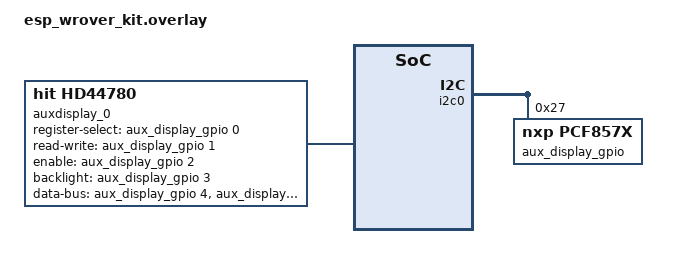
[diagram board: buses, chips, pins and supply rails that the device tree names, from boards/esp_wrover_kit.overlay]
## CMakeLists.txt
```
# SPDX-License-Identifier: Apache-2.0

cmake_minimum_required(VERSION 3.28.0)

find_package(Zephyr HINTS $ENV{ZEPHYR_BASE})
project(auxdisplay)

target_sources(app PRIVATE src/main.c)
```

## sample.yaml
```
sample:
  description: Demonstration of auxdisplay driver
  name: Auxiliary display sample
tests:
  sample.drivers.auxdisplay:
    tags: auxdisplay
    harness_config:
      fixture: fixture_auxdisplay
    platform_allow: nucleo_f746zg
    integration_platforms:
      - nucleo_f746zg
```

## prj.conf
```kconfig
CONFIG_AUXDISPLAY=y
CONFIG_LOG=y
```

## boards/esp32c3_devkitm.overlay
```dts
/*
 * Copyright (c) 2023 Chen Xingyu <hi@xingrz.me>
 * SPDX-License-Identifier: Apache-2.0
 */

#include <freq.h>

&spi2 {
	cs-gpios = <&gpio0 5 GPIO_ACTIVE_LOW>;

	auxdisplay_0: auxdisplay@0 {
		compatible = "ptc,pt6314";
		reg = <0>;
		spi-max-frequency = <DT_FREQ_M(1)>;
		columns = <20>;
		rows = <2>;
		status = "okay";
	};
};
```

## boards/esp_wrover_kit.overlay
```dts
/*
 * Character HD44780 module driven by the PCF8574 gpio.
 */

&i2c0 {
	aux_display_gpio: pcf8574@27 {
		compatible = "nxp,pcf857x";
		reg = <0x27>;
		gpio-controller;
		ngpios = <8>;
		#gpio-cells = <2>;
	};
};

/ {
	auxdisplay_0: hd44780 {
		compatible = "hit,hd44780";
		columns = <16>;
		rows = <2>;
		mode = <4>;
		boot-delay-ms = <100>;
		enable-line-rise-delay-us = <1000>;
		enable-line-fall-delay-us = <500>;
		register-select-gpios = <&aux_display_gpio 0 GPIO_ACTIVE_HIGH>;
		read-write-gpios = <&aux_display_gpio 1 GPIO_ACTIVE_HIGH>;
		enable-gpios = <&aux_display_gpio 2 GPIO_ACTIVE_HIGH>;
		backlight-gpios = <&aux_display_gpio 3 GPIO_ACTIVE_HIGH>;
		data-bus-gpios = <0>, <0>, <0>, <0>,
				 <&aux_display_gpio 4 GPIO_ACTIVE_HIGH>,
				 <&aux_display_gpio 5 GPIO_ACTIVE_HIGH>,
				 <&aux_display_gpio 6 GPIO_ACTIVE_HIGH>,
				 <&aux_display_gpio 7 GPIO_ACTIVE_HIGH>;
	};
};
```

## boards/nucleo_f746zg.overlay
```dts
/*
 * Copyright (c) 2022-2023 Jamie McCrae
 *
 * SPDX-License-Identifier: Apache-2.0
 */

/ {
	auxdisplay_0: auxdisplay {
		compatible = "hit,hd44780";
		columns = <20>;
		rows = <4>;
		mode = <4>;
		register-select-gpios = <&gpiob 8 GPIO_ACTIVE_HIGH>;
		enable-gpios = <&gpiob 9 GPIO_ACTIVE_HIGH>;
		data-bus-gpios = <0>, <0>, <0>, <0>,
				 <&gpioa 5 GPIO_ACTIVE_HIGH>,
				 <&gpioa 6 GPIO_ACTIVE_HIGH>,
				 <&gpioa 7 GPIO_ACTIVE_HIGH>,
				 <&gpiod 14 GPIO_ACTIVE_HIGH>;
		status = "okay";
	};
};

/delete-node/ &spi1;
```

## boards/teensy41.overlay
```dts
/*
 * Copyright (c) 2026 Hatus Vianna Wanderley
 *
 * SPDX-License-Identifier: Apache-2.0
 *
 * Teensy 4.1 overlay for the auxdisplay sample application.
 *
 * Hardware Configuration:
 * - LPUART6 (pins 0/1): Console output at 115200 baud
 * - LPI2C1 (pins 18/19): I2C bus for PCF8574 GPIO expander at address 0x20
 * - HD44780 16x2 LCD: Connected via PCF8574 I2C GPIO expander
 *
 * Tested Hardware:
 * - DFRobot DFR0063 16x2 LCD with I2C backpack (PCF8574-based)
 * - Connected to Teensy 4.1 via DFR0063 low voltage (3.3V) I2C interface
 *
 */

#include <dt-bindings/input/input-event-codes.h>

/* Enable LPUART6 on Teensy 4.1 (Pins 0/1) */
&lpuart6 {
    status = "okay";
    current-speed = <115200>;
};

/* Enable LPI2C1 on Teensy 4.1 (Pins 18/19) */
&lpi2c1 {
	status = "okay";
	pinctrl-0 = <&pinmux_lpi2c1>;
	pinctrl-names = "default";

	aux_display_gpio: pcf8574@20 {
		compatible = "nxp,pcf857x";
		reg = <0x20>;
		gpio-controller;
		ngpios = <8>;
		#gpio-cells = <2>;
	};
};

/ {
	chosen {
		zephyr,console = &lpuart6;
		zephyr,shell-uart = &lpuart6;
	};

	auxdisplay_0: hd44780 {
		compatible = "hit,hd44780";
		columns = <16>;
		rows = <2>;
		mode = <4>;

		enable-line-rise-delay-ns = <450>;
		enable-line-fall-delay-ns = <550>;
		rs-line-delay-ns = <60>;
		clear-command-delay-us = <5000>;
		boot-delay-ms = <0>;

		register-select-gpios = <&aux_display_gpio 0 GPIO_ACTIVE_HIGH>;
		enable-gpios = <&aux_display_gpio 2 GPIO_ACTIVE_HIGH>;
		backlight-gpios = <&aux_display_gpio 3 GPIO_ACTIVE_HIGH>;
		data-bus-gpios = <0>, <0>, <0>, <0>,
			<&aux_display_gpio 4 GPIO_ACTIVE_HIGH>,
			<&aux_display_gpio 5 GPIO_ACTIVE_HIGH>,
			<&aux_display_gpio 6 GPIO_ACTIVE_HIGH>,
			<&aux_display_gpio 7 GPIO_ACTIVE_HIGH>;
	};
};
```

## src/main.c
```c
/*
 * Copyright (c) 2023 Jamie McCrae
 *
 * SPDX-License-Identifier: Apache-2.0
 */

#include <string.h>
#include <zephyr/kernel.h>
#include <zephyr/device.h>
#include <zephyr/drivers/auxdisplay.h>
#include <zephyr/logging/log.h>

LOG_MODULE_REGISTER(auxdisplay_sample, LOG_LEVEL_DBG);

int main(void)
{
	int rc;
	const struct device *const dev = DEVICE_DT_GET(DT_NODELABEL(auxdisplay_0));
	uint8_t data[64];

	if (!device_is_ready(dev)) {
		LOG_ERR("Auxdisplay device is not ready.");
		return 0;
	}

	rc = auxdisplay_cursor_set_enabled(dev, true);

	if (rc != 0) {
		LOG_ERR("Failed to enable cursor: %d", rc);
	}

	snprintk(data, sizeof(data), "Hello world from %s", CONFIG_BOARD);
	rc = auxdisplay_write(dev, data, strlen(data));

	if (rc != 0) {
		LOG_ERR("Failed to write data: %d", rc);
	}
	return 0;
}
```
